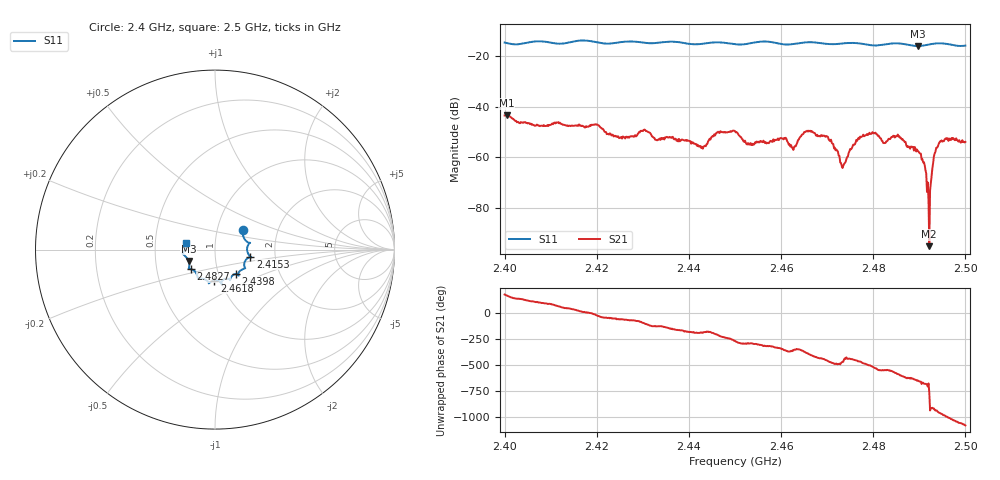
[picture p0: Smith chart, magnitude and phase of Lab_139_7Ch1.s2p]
# Hz S RI R 50
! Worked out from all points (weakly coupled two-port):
!   601 points, 2.4 GHz to 2.5 GHz, reference 50 ohm
!   highest |S21| = -43.35 dB at 2.4005 GHz (marker M1); lowest = -95.3 dB at 2.4922 GHz (marker M2)
!   lowest |S11| = -15.9 dB at 2.4897 GHz (marker M3), VSWR 1.38, Z = 36.9 - j4.82 ohm
!   |S11| at or under -10 dB: start of sweep to end of sweep
!   S12 and S22 are empty: the file has one direction only
!   S11 on the Smith chart (normalised r, x): 2.4 GHz: 1.33, +0.29; 2.4153 GHz: 1.48, -0.12; 2.4398 GHz: 1.21, -0.34; 2.4618 GHz: 0.94, -0.33; 2.4827 GHz: 0.75, -0.17; 2.5 GHz: 0.72, +0.06
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2.4e9  0.1551 0.1066  -0.00672 0.000153  0 0  0 0
2.4005e9  0.1548 0.0993  -0.00669 0.0012  0 0  0 0
2.415333e9  0.1967 -0.0393  0.00365 0.00221  0 0  0 0
2.416667e9  0.2024 -0.0433  0.004 0.00107  0 0  0 0
2.433333e9  0.13 -0.134  -0.00134 -0.00179  0 0  0 0
2.439833e9  0.1154 -0.1362  -0.00213 5.3e-05  0 0  0 0
2.443167e9  0.0878 -0.1564  -0.00162 9.29e-05  0 0  0 0
2.45e9  0.0651 -0.1621  -9.79e-05 0.00329  0 0  0 0
2.453e9  0.0383 -0.1757  0.000703 0.00164  0 0  0 0
2.461833e9  -0.00324 -0.1725  0.00178 -0.000291  0 0  0 0
2.466667e9  -0.0345 -0.1879  0.00224 -0.00242  0 0  0 0
2.470333e9  -0.051 -0.1684  -0.000614 -0.00216  0 0  0 0
2.473333e9  -0.0833 -0.1602  -0.000208 -0.000575  0 0  0 0
2.477333e9  -0.0972 -0.1509  -0.000878 -0.00234  0 0  0 0
2.482667e9  -0.1352 -0.1089  -0.0019 0.000303  0 0  0 0
2.483333e9  -0.1403 -0.1086  -0.00227 0.000494  0 0  0 0
2.489667e9  -0.1474 -0.0636  0.000439 0.00125  0 0  0 0
2.490833e9  -0.1567 -0.0472  0.000533 0.000579  0 0  0 0
2.492167e9  -0.1696 -0.0324  1.19e-05 -1.23e-05  0 0  0 0
2.493333e9  -0.1784 -0.0248  -0.00101 0.000637  0 0  0 0
2.494333e9  -0.181 -0.0211  -0.000919 0.00171  0 0  0 0
2.5e9  -0.1592 0.0391  0.00201 -0.00012  0 0  0 0
